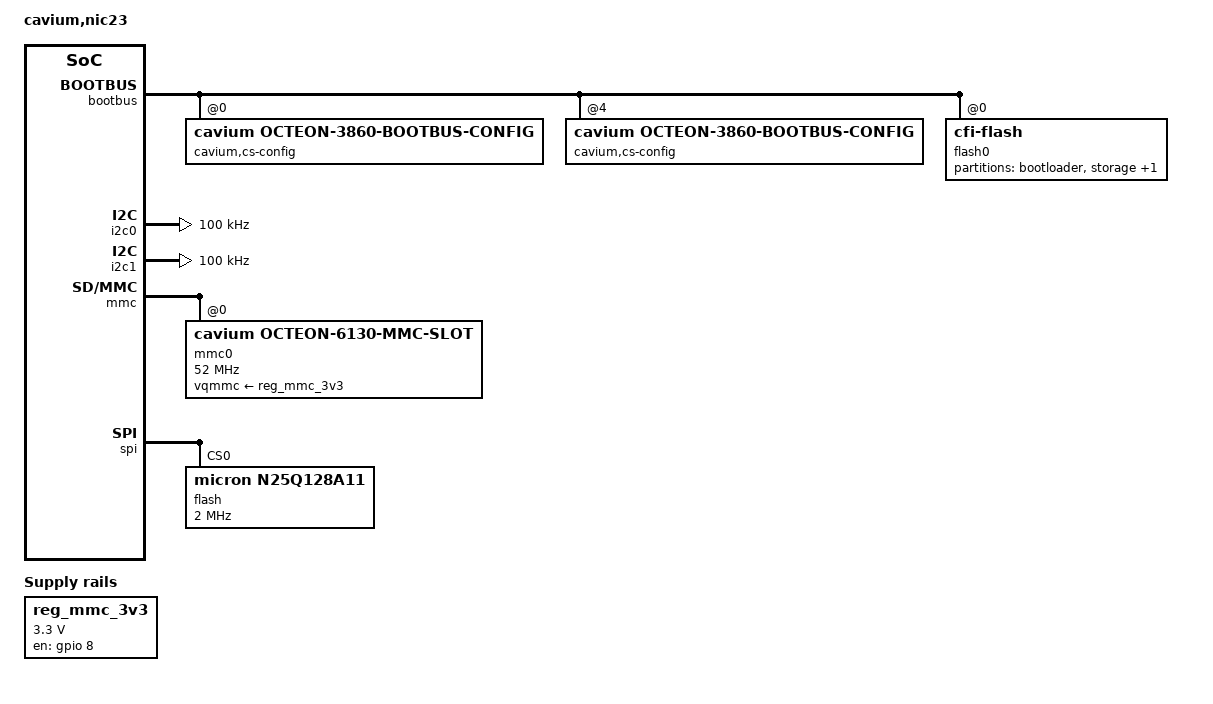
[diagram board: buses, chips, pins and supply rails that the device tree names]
// SPDX-License-Identifier: GPL-2.0+
/*
 * Marvell / Cavium Inc. NIC23
 */

/dts-v1/;

#include "mrvl,cn73xx.dtsi"
#include <dt-bindings/gpio/gpio.h>

/ {
	model = "cavium,nic23";
	compatible = "cavium,nic23";

	aliases {
		mmc0 = &mmc0;
		serial0 = &uart0;
		spi0 = &spi;
	};

	regulators {
		compatible = "simple-bus";
		#address-cells = <1>;
		#size-cells = <0>;

		/* Power on GPIO 8, active high */
		reg_mmc_3v3: regulator@0 {
			compatible = "regulator-fixed";
			reg = <0>;
			regulator-name = "mmc-3v3";
			regulator-min-microvolt = <3300000>;
			regulator-max-microvolt = <3300000>;
			gpio = <&gpio 8 GPIO_ACTIVE_HIGH>;
			enable-active-high;
		};
	};

	chosen {
		stdout-path = &uart0;
	};
};

&bootbus {
	/*
	 * bootbus CS0 for CFI flash is remapped (0x1fc0.0000 -> 1f40.0000)
	 * as the initial size is too small for the 8MiB flash device
	 */
	ranges = <0 0  0       0x1f400000  0xc00000>,
		 <1 0  0x10000 0x10000000  0>,
		 <2 0  0x10000 0x20000000  0>,
		 <3 0  0x10000 0x30000000  0>,
		 <4 0  0       0x1d020000  0x10000>,
		 <5 0  0x10000 0x50000000  0>,
		 <6 0  0x10000 0x60000000  0>,
		 <7 0  0x10000 0x70000000  0>;

	cavium,cs-config@0 {
		compatible = "cavium,octeon-3860-bootbus-config";
		cavium,cs-index = <0>;
		cavium,t-adr  = <10>;
		cavium,t-ce   = <50>;
		cavium,t-oe   = <50>;
		cavium,t-we   = <35>;
		cavium,t-rd-hld = <25>;
		cavium,t-wr-hld = <35>;
		cavium,t-pause  = <0>;
		cavium,t-wait   = <50>;
		cavium,t-page   = <30>;
		cavium,t-rd-dly = <0>;
		cavium,page-mode = <1>;
		cavium,pages     = <8>;
		cavium,bus-width = <8>;
	};

	cavium,cs-config@4 {
		compatible = "cavium,octeon-3860-bootbus-config";
		cavium,cs-index = <4>;
		cavium,t-adr  = <10>;
		cavium,t-ce   = <10>;
		cavium,t-oe   = <160>;
		cavium,t-we   = <100>;
		cavium,t-rd-hld = <10>;
		cavium,t-wr-hld = <0>;
		cavium,t-pause  = <50>;
		cavium,t-wait   = <50>;
		cavium,t-page   = <10>;
		cavium,t-rd-dly = <10>;
		cavium,pages     = <0>;
		cavium,bus-width = <8>;
	};

	flash0: nor@0,0 {
		compatible = "cfi-flash";
		reg = <0 0 0x800000>;
		#address-cells = <1>;
		#size-cells = <1>;
		partition@0 {
			label = "bootloader";
			reg = <0 0x340000>;
			read-only;
		};
		partition@300000 {
			label = "storage";
			reg = <0x340000 0x4be000>;
		};
		partition@7fe000 {
			label = "environment";
			reg = <0x7fe000 0x2000>;
			read-only;
		};
	};
};

&uart0 {
	clock-frequency = <800000000>;
};

&i2c0 {
	u-boot,dm-pre-reloc;	/* Needed early for DDR SPD EEPROM */
	clock-frequency = <100000>;
};

&i2c1 {
	u-boot,dm-pre-reloc;	/* Needed early for DDR SPD EEPROM */
	clock-frequency = <100000>;
};

&mmc {
	status = "okay";

	mmc0: mmc-slot@0 {
		compatible = "cavium,octeon-6130-mmc-slot", "mmc-slot";
		reg = <0>;
		vqmmc-supply = <&reg_mmc_3v3>;
		voltage-ranges = <3300 3300>;
		spi-max-frequency = <52000000>;
		/* bus width can be 1, 4 or 8 */
		bus-width = <8>; /* new std property */
		cavium,bus-max-width = <8>; /* custom property */
		non-removable;
	};
};

&soc0 {
	pci-console@0 {
		compatible = "marvell,pci-console";
		status = "okay";
	};

	pci-bootcmd@0 {
		compatible = "marvell,pci-bootcmd";
		status = "okay";
	};
};

&spi {
	flash@0 {
		compatible = "micron,n25q128a11", "jedec,spi-nor";
		spi-max-frequency = <2000000>;
		reg = <0>;
	};
};
